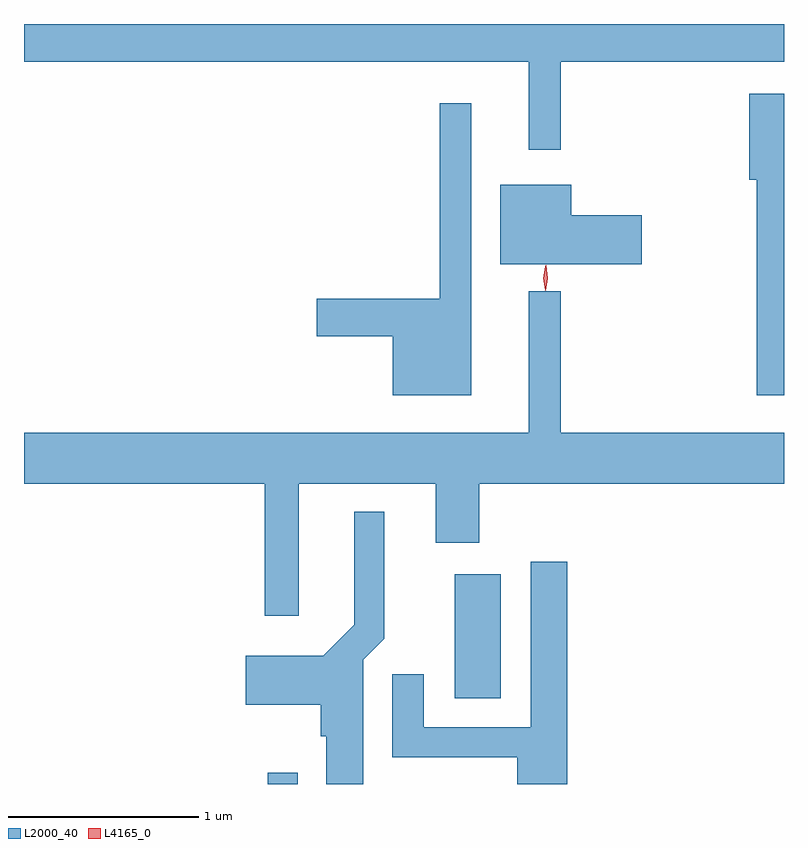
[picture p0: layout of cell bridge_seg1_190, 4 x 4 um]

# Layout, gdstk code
import gdstk
lib = gdstk.Library(unit=1e-6, precision=1e-09)
def R(c, l, rs):  # rectangles x0, y0, x1, y1
    for r in rs: c.add(gdstk.rectangle(r[:2], r[2:], *l))
def P(c, l, *ps):  # polygons
    for p in ps: c.add(gdstk.Polygon(p, *l))
L2000_40 = (2000, 40)
L4165_0 = (4165, 0)

bridge_seg1_190 = lib.new_cell('bridge_seg1_190')
R(bridge_seg1_190, L2000_40, [(646.056,953.495,646.214,953.553), (647.041,953.946,647.284,954.599)])
P(bridge_seg1_190, L2000_40, [(647.599,957.296),(648.774,957.296),(648.774,957.495),(644.774,957.495),(644.774,957.296),(647.431,957.296),(647.431,956.833),(647.599,956.833)],
  [(648.774,957.129),(648.591,957.129),(648.591,956.676),(648.631,956.676),(648.631,955.541),(648.774,955.541)],
  [(647.129,957.078),(646.961,957.078),(646.961,956.049),(646.316,956.049),(646.316,955.851),(646.716,955.851),(646.716,955.541),(647.129,955.541)],
  [(648.024,956.489),(647.654,956.489),(647.654,956.649),(647.281,956.649),(647.281,956.231),(648.024,956.231)],
  [(646.219,955.076),(646.941,955.076),(646.941,954.766),(647.169,954.766),(647.169,955.076),(648.774,955.076),(648.774,955.344),(647.599,955.344),(647.599,956.088),(647.431,956.088),(647.431,955.344),(644.774,955.344),(644.774,955.076),(646.041,955.076),(646.041,954.381),(646.219,954.381)],
  [(646.559,954.149),(646.669,954.259),(646.669,954.928),(646.511,954.928),(646.511,954.332),(646.349,954.169),(645.941,954.169),(645.941,953.911),(646.336,953.911),(646.336,953.746),(646.366,953.746),(646.366,953.495),(646.559,953.495)],
  [(647.634,954.664),(647.441,954.664),(647.441,953.794),(646.879,953.794),(646.879,954.073),(646.711,954.073),(646.711,953.636),(647.371,953.636),(647.371,953.495),(647.634,953.495)])
P(bridge_seg1_190, L4165_0, [(647.518,956.093),(647.517,956.094),(647.508,956.156),(647.517,956.219),(647.518,956.22),(647.518,956.219),(647.528,956.156),(647.518,956.094)],
  [(647.519,956.09),(647.511,956.158),(647.521,956.225),(647.522,956.226),(647.522,956.225),(647.531,956.158),(647.52,956.09),(647.52,956.09)])

lib.write_gds('bridge_seg1_190.gds')
